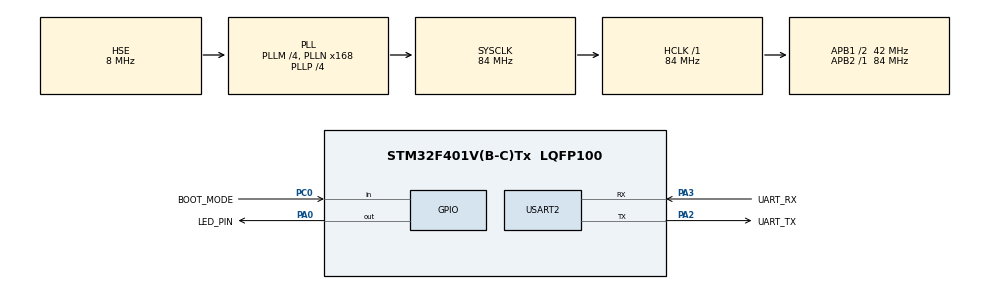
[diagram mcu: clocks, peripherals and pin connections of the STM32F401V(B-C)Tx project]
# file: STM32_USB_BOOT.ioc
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Mcu.Family=STM32F4
Mcu.Name=STM32F401V(B-C)Tx
Mcu.Package=LQFP100
NVIC.PriorityGroup=NVIC_PRIORITYGROUP_4
PA0-WKUP.GPIO_Label=LED_PIN
PA0-WKUP.Signal=GPIO_Output
PA2.GPIO_Label=UART_TX
PA2.Mode=Asynchronous
PA2.Signal=USART2_TX
PA3.GPIO_Label=UART_RX
PA3.Mode=Asynchronous
PA3.Signal=USART2_RX
PC0.GPIO_Label=BOOT_MODE
PC0.Signal=GPIO_Input
PH0\ -\ OSC_IN.Mode=HSE-External-Oscillator
PH0\ -\ OSC_IN.Signal=RCC_OSC_IN
PH1\ -\ OSC_OUT.Mode=HSE-External-Oscillator
PH1\ -\ OSC_OUT.Signal=RCC_OSC_OUT
ProjectManager.HeapSize=0x200
ProjectManager.StackSize=0x400
ProjectManager.TargetToolchain=Makefile
RCC.48MHZClocksFreq_Value=42000000
RCC.AHBFreq_Value=84000000
RCC.APB1CLKDivider=RCC_HCLK_DIV2
RCC.APB1Freq_Value=42000000
RCC.APB1TimFreq_Value=84000000
RCC.APB2Freq_Value=84000000
RCC.APB2TimFreq_Value=84000000
RCC.CortexFreq_Value=84000000
RCC.HCLKFreq_Value=84000000
RCC.HSE_VALUE=8000000
RCC.HSI_VALUE=16000000
RCC.LSE_VALUE=32768
RCC.PLLM=8
RCC.PLLN=168
RCC.PLLSourceVirtual=RCC_PLLSOURCE_HSE
RCC.SYSCLKFreq_VALUE=84000000
RCC.SYSCLKSource=RCC_SYSCLKSOURCE_PLLCLK
RCC.VCOOutputFreq_Value=168000000
USART2.VirtualMode=VM_ASYNC
board=custom

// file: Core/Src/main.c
/* USER CODE BEGIN Header */
/**
  ******************************************************************************
  * @file           : main.c
  * @brief          : Main program body
  ******************************************************************************
  * @attention
  *
  * Copyright (c) 2025 STMicroelectronics.
  * All rights reserved.
  *
  * This software is licensed under terms that can be found in the LICENSE file
  * in the root directory of this software component.
  * If no LICENSE file comes with this software, it is provided AS-IS.
  *
  ******************************************************************************
  */
/* USER CODE END Header */
#include "main.h"

/* USER CODE BEGIN PTD */
typedef void (*pFunction)(void);
/* USER CODE END PTD */

/* USER CODE BEGIN PD */
#define STM32_DFU_ROM_CODE 0x1FFF0000
#define DFU_ENTRY_OFFSET 4 // Offset for Reset Handler (second word)
/* USER CODE END PD */

/* USER CODE BEGIN PM */
#define APPLICATION_NAME "STALKER"
/* USER CODE END PM */

UART_HandleTypeDef huart2;

/* USER CODE BEGIN PV */
// External linker symbols for application and RAM addresses
extern uint32_t __appflash_start;
extern uint32_t __appflash_end;
extern uint32_t __ram_start;
extern uint32_t __ram_end;
/* USER CODE END PV */

static void MX_GPIO_Init(void);
static void MX_USART2_UART_Init(void);
/* USER CODE BEGIN PFP */
static uint8_t check_boot_mode_pin(void);
static void jump_to_dfu_bootloader(void);
static int application_is_valid(void);
static void application_run(void);
static void print_startup_banner(void);
static void show_dfu_mode(int use_dfu);
static void amiga_reset(void);
static void prepare_for_jump(void);
/* USER CODE END PFP */

void SystemClock_Config(void);

/* USER CODE BEGIN 0 */
__attribute__((weak)) void custom_setup_early(void)
{
	/* Do something useful here for your custom hardware */
}

__attribute__((weak)) void custom_setup_late(void)
{
	/* Do something useful here for your custom hardware */
	amiga_reset();
}

/* USER CODE END 0 */
static void MX_USART2_UART_Init(void)
{

	huart2.Instance = USART2;
	huart2.Init.BaudRate = 115200;
	huart2.Init.WordLength = UART_WORDLENGTH_8B;
	huart2.Init.StopBits = UART_STOPBITS_1;
	huart2.Init.Parity = UART_PARITY_NONE;
	huart2.Init.Mode = UART_MODE_TX_RX;
	huart2.Init.HwFlowCtl = UART_HWCONTROL_NONE;
	huart2.Init.OverSampling = UART_OVERSAMPLING_16;
	if (HAL_UART_Init(&huart2) != HAL_OK)
	{
		Error_Handler();
	}

}

static void MX_GPIO_Init(void)
{
	GPIO_InitTypeDef GPIO_InitStruct = {0};

	/* GPIO Ports Clock Enable */
	__HAL_RCC_GPIOH_CLK_ENABLE();
	__HAL_RCC_GPIOC_CLK_ENABLE();
	__HAL_RCC_GPIOA_CLK_ENABLE();

	/*Configure GPIO pin Output Level */
	HAL_GPIO_WritePin(LED_PIN_GPIO_Port, LED_PIN_Pin, GPIO_PIN_SET);

	/*Configure GPIO pin : LED_PIN_Pin */
	GPIO_InitStruct.Pin = LED_PIN_Pin;
	GPIO_InitStruct.Mode = GPIO_MODE_OUTPUT_PP;
	GPIO_InitStruct.Pull = GPIO_NOPULL;
	GPIO_InitStruct.Speed = GPIO_SPEED_FREQ_LOW;
	HAL_GPIO_Init(LED_PIN_GPIO_Port, &GPIO_InitStruct);

	/*Configure GPIO pin : BOOT_MODE_Pin */
	GPIO_InitStruct.Pin = BOOT_MODE_Pin;
	GPIO_InitStruct.Mode = GPIO_MODE_INPUT;
	GPIO_InitStruct.Pull = GPIO_PULLUP;
	HAL_GPIO_Init(BOOT_MODE_GPIO_Port, &GPIO_InitStruct);

}

/* USER CODE BEGIN 4 */
static uint8_t check_boot_mode_pin(void)
{
	uint32_t samples_sum = 0;
	const uint32_t num_samples = 20;
	const uint32_t delay_ms = 1000 / num_samples; // 50ms delay for 20 samples over 1 second

	//PRINT_INFO("Checking BOOT_MODE_Pin for 1 second...\r\n");

	for (uint32_t i = 0; i < num_samples; i++)
	{
		samples_sum += HAL_GPIO_ReadPin(BOOT_MODE_GPIO_Port, BOOT_MODE_Pin);
		HAL_Delay(delay_ms);
	}

	// If average is closer to 0 (less than half are high), assume DFU mode
	if (samples_sum < (num_samples / 2))
	{
		//PRINT_INFO("BOOT_MODE_Pin detected as LOW (DFU mode).\r\n");
		return 1; // DFU mode
	}
	else
	{
		//PRINT_INFO("BOOT_MODE_Pin detected as HIGH (Normal mode).\r\n");
		return 0; // Normal mode
	}
}

/**
 * @brief Bring the MCU back to a reset-like state before leaving the bootloader
 *
 * The ST ROM DFU bootloader expects the default clock tree (HSI, PLL off) and
 * no running SysTick/pending interrupts. GPIOs are left untouched so the Amiga
 * stays in reset while updating.
 */
static void prepare_for_jump(void)
{
	__disable_irq();

	HAL_UART_DeInit(&huart2);
	HAL_RCC_DeInit();

	// HAL_RCC_DeInit() restarts SysTick on HSI: stop it for good
	SysTick->CTRL = 0;
	SysTick->LOAD = 0;
	SysTick->VAL = 0;
	SCB->ICSR = SCB_ICSR_PENDSTCLR_Msk;

	for (uint32_t i = 0; i < (sizeof(NVIC->ICER) / sizeof(NVIC->ICER[0])); i++)
	{
		NVIC->ICER[i] = 0xFFFFFFFF;
		NVIC->ICPR[i] = 0xFFFFFFFF;
	}

	// The ROM bootloader and the application expect interrupts enabled
	__enable_irq();
}

static void jump_to_dfu_bootloader(void)
{
	PRINT_INFO("Jumping to DFU Bootloader...\r\n");

	prepare_for_jump();

	// Map System Memory at 0x00000000 as after a BOOT0 reset
	__HAL_RCC_SYSCFG_CLK_ENABLE();
	__HAL_SYSCFG_REMAPMEMORY_SYSTEMFLASH();

	// Get the DFU entry point (reset handler address)
	// The entry point is typically stored at the second word (offset 4) of the vector table
	pFunction dfu_entry_point = (pFunction)(*(volatile uint32_t *)(STM32_DFU_ROM_CODE + DFU_ENTRY_OFFSET));

	// Set the main stack pointer to the start of the DFU ROM
	__set_MSP(*(volatile uint32_t *)STM32_DFU_ROM_CODE);

	// Jump to the DFU entry point
	dfu_entry_point();

	// Should not return from here
	while (1)
	{
		// Error: DFU jump failed or returned
		PRINT_ERROR("DFU jump failed or returned!\r\n");
	}
}

static int application_is_valid(void)
{
	uint32_t app_stack_pointer = *(volatile uint32_t *)&__appflash_start;
	pFunction app_reset_handler = (pFunction)(*(volatile uint32_t *)((uint32_t)&__appflash_start + 4));

	PRINT_INFO("Checking for application firmware at 0x%lx...\r\n", (long unsigned int)&__appflash_start);

	// Validate application's stack pointer and reset handler address
	if ((app_stack_pointer < (uint32_t)&__ram_start) || (app_stack_pointer > (uint32_t)&__ram_end))
	{
		PRINT_ERROR("Application stack pointer (0x%lx) is outside RAM range (0x%lx - 0x%lx).\r\n",
			   (long unsigned int)app_stack_pointer, (long unsigned int)&__ram_start, (long unsigned int)&__ram_end);
		return 0;
	}

	if ( ((uint32_t)app_reset_handler < (uint32_t)&__appflash_start) || ((uint32_t)app_reset_handler > (uint32_t)&__appflash_end) )
	{
		PRINT_ERROR("Application reset handler (0x%lx) is outside application start address (0x%lx) or available flash area.\r\n",
			   (long unsigned int)app_reset_handler, (long unsigned int)&__appflash_start);
		return 0;
	}

	/* Application is valid and can be launched */
	return 1;
}

static void application_run(void)
{
	uint32_t app_stack_pointer = *(volatile uint32_t *)&__appflash_start;
	pFunction app_reset_handler = (pFunction)(*(volatile uint32_t *)((uint32_t)&__appflash_start + 4));

	PRINT_INFO("Valid application firmware found. Jumping to application...\r\n");

	// Turn off the LED before jumping to application
	HAL_GPIO_WritePin(LED_PIN_GPIO_Port, LED_PIN_Pin, GPIO_PIN_SET);

	prepare_for_jump();

	// Set the Vector Table Offset Register to the application's vector table
	SCB->VTOR = (uint32_t)&__appflash_start;

	// Set the Main Stack Pointer to the application's stack pointer
	__set_MSP(app_stack_pointer);

	// Jump to the application's reset handler
	app_reset_handler();

	// Should not return from here
	while (1)
	{
		// Error: Application jump failed or returned
		PRINT_ERROR("Application jump failed or returned!\r\n");
	}
}

static void print_startup_banner(void)
{
	PRINT_INFO("\x1b[36m**********************************\x1b[0m\r\n"); // Cyan
	PRINT_INFO("\x1b[36m*  \x1b[33mSTM32 " APPLICATION_NAME " USB BOOTLOADER\x1b[36m  *\x1b[0m\r\n"); // Cyan borders, Yellow text
	PRINT_INFO("\x1b[36m**********************************\x1b[0m\r\n"); // Cyan
	PRINT_INFO("\x1b[0m\r\n"); // Reset color and add a newline for spacing
	PRINT_INFO("----------------------------------------\r\n");
	PRINT_INFO("STM32 " APPLICATION_NAME " BOOTLOADER\r\n");
	PRINT_INFO("Version: %s\r\n", SOFTWARE_VERSION);
	PRINT_INFO("Build Timestamp: %s %s\r\n", __DATE__, __TIME__);
}

static void show_dfu_mode(int use_dfu)
{
	PRINT_INFO("User request DFU MODE: %s\r\n", use_dfu == 1 ? ANSI_COLOR_RED"YES"ANSI_COLOR_RESET : ANSI_COLOR_CYAN"NO"ANSI_COLOR_RESET);
	PRINT_INFO("----------------------------------------\r\n");
}

/**
 * @brief Keep Amiga in reset state during update
 * @retval None
 */
static void amiga_reset(void)
{
	/* Configure AMIGA RESET as output after checking the bootloader
	 * user request
	 */
	GPIO_InitTypeDef GPIO_InitStruct = {0};

	/*Configure GPIO pin Output Level BOOT_MODE_Pin / AMIGA RESET as low */
	HAL_GPIO_WritePin(BOOT_MODE_GPIO_Port, BOOT_MODE_Pin, GPIO_PIN_RESET);

	/*Configure GPIO pin as output: PC1 - AMIGA RESET J8 */
	GPIO_InitStruct.Pin = BOOT_MODE_Pin;
	GPIO_InitStruct.Mode = GPIO_MODE_OUTPUT_PP;
	GPIO_InitStruct.Pull = GPIO_PULLUP; /* Due to a short circuit tied to gnd an internal pullup is needed */
	GPIO_InitStruct.Speed = GPIO_SPEED_FREQ_LOW;
	HAL_GPIO_Init(BOOT_MODE_GPIO_Port, &GPIO_InitStruct);
	PRINT_INFO("Amiga now it's in RESET state\r\n");
}

/* USER CODE END 4 */

int main(void)
{
	int use_dfu;

	/* MCU Configuration--------------------------------------------------------*/

	/* Reset of all peripherals, Initializes the Flash interface and the Systick. */
	HAL_Init();

	/* Configure the system clock */
	SystemClock_Config();

	/* Initialize all configured peripherals */
	MX_GPIO_Init();
	MX_USART2_UART_Init();

	/* USER CODE BEGIN 2 */
	custom_setup_early();

	print_startup_banner(); // Display banner at startup

	use_dfu = check_boot_mode_pin();

	show_dfu_mode(use_dfu); // Display banner at startup

	custom_setup_late();

	/* USER CODE END 2 */
	if (application_is_valid())
	{
		if (!use_dfu)
		{
			application_run();
		}
	}

	jump_to_dfu_bootloader();

	PRINT_ERROR("*** NEVER REACHED ***\r\n");
	__disable_irq();
	/* Infinite loop */
	while (1)
	{

	}
}

void SystemClock_Config(void)
{
  RCC_OscInitTypeDef RCC_OscInitStruct = {0};
  RCC_ClkInitTypeDef RCC_ClkInitStruct = {0};

  /** Configure the main internal regulator output voltage
  */
  __HAL_RCC_PWR_CLK_ENABLE();
  __HAL_PWR_VOLTAGESCALING_CONFIG(PWR_REGULATOR_VOLTAGE_SCALE2);

  /** Initializes the RCC Oscillators according to the specified parameters
  * in the RCC_OscInitTypeDef structure.
  */
  RCC_OscInitStruct.OscillatorType = RCC_OSCILLATORTYPE_HSE;
  RCC_OscInitStruct.HSEState = RCC_HSE_ON;
  RCC_OscInitStruct.PLL.PLLState = RCC_PLL_ON;
  RCC_OscInitStruct.PLL.PLLSource = RCC_PLLSOURCE_HSE;
  RCC_OscInitStruct.PLL.PLLM = 4;
  RCC_OscInitStruct.PLL.PLLN = 168;
  RCC_OscInitStruct.PLL.PLLP = RCC_PLLP_DIV4;
  RCC_OscInitStruct.PLL.PLLQ = 7;
  if (HAL_RCC_OscConfig(&RCC_OscInitStruct) != HAL_OK)
  {
	Error_Handler();
  }

  /** Initializes the CPU, AHB and APB buses clocks
  */
  RCC_ClkInitStruct.ClockType = RCC_CLOCKTYPE_HCLK|RCC_CLOCKTYPE_SYSCLK
							  |RCC_CLOCKTYPE_PCLK1|RCC_CLOCKTYPE_PCLK2;
  RCC_ClkInitStruct.SYSCLKSource = RCC_SYSCLKSOURCE_PLLCLK;
  RCC_ClkInitStruct.AHBCLKDivider = RCC_SYSCLK_DIV1;
  RCC_ClkInitStruct.APB1CLKDivider = RCC_HCLK_DIV2;
  RCC_ClkInitStruct.APB2CLKDivider = RCC_HCLK_DIV1;

  if (HAL_RCC_ClockConfig(&RCC_ClkInitStruct, FLASH_LATENCY_2) != HAL_OK)
  {
	Error_Handler();
  }
}

void Error_Handler(void)
{
  __disable_irq();
  while (1)
  {
  }
}
